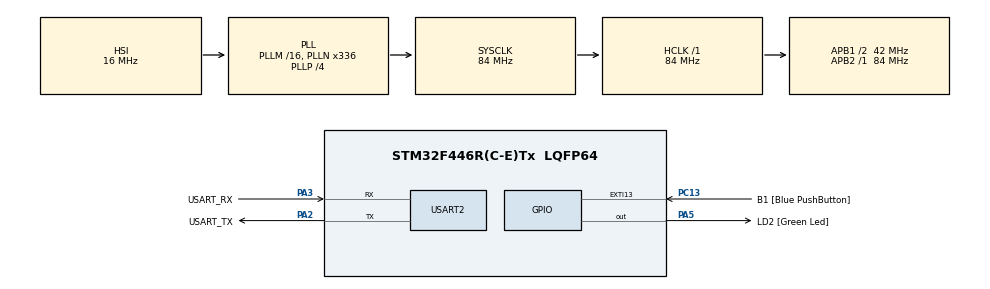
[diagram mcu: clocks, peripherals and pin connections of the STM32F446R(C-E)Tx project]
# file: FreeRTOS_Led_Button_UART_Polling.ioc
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FREERTOS.Tasks01=defaultTask,24,128,StartDefaultTask,Default,NULL,Dynamic,NULL,NULL;LedTask,9,128,LedFunction,Default,NULL,Dynamic,NULL,NULL;Buttonask,16,128,ButtonFunction,Default,NULL,Dynamic,NULL,NULL;UartTask,40,128,UartFunction,Default,NULL,Dynamic,NULL,NULL
FREERTOS.configUSE_NEWLIB_REENTRANT=1
Mcu.Family=STM32F4
Mcu.Name=STM32F446R(C-E)Tx
Mcu.Package=LQFP64
NVIC.PriorityGroup=NVIC_PRIORITYGROUP_4
NVIC.TIM5_IRQn=true\:15\:0\:false\:false\:true\:false\:false\:true
NVIC.TimeBase=TIM5_IRQn
NVIC.TimeBaseIP=TIM5
PA13.GPIO_Label=TMS
PA13.Mode=Serial_Wire
PA13.Signal=SYS_JTMS-SWDIO
PA14.GPIO_Label=TCK
PA14.Mode=Serial_Wire
PA14.Signal=SYS_JTCK-SWCLK
PA2.GPIO_Label=USART_TX
PA2.Mode=Asynchronous
PA2.Signal=USART2_TX
PA3.GPIO_Label=USART_RX
PA3.Mode=Asynchronous
PA3.Signal=USART2_RX
PA5.GPIO_Label=LD2 [Green Led]
PA5.Signal=GPIO_Output
PB3.GPIO_Label=SWO
PB3.Signal=SYS_JTDO-SWO
PC13.GPIO_Label=B1 [Blue PushButton]
PC13.GPIO_ModeDefaultEXTI=GPIO_MODE_IT_FALLING
PC13.Signal=GPXTI13
PC14-OSC32_IN.Mode=LSE-External-Oscillator
PC14-OSC32_IN.Signal=RCC_OSC32_IN
PC15-OSC32_OUT.Mode=LSE-External-Oscillator
PC15-OSC32_OUT.Signal=RCC_OSC32_OUT
PH0-OSC_IN.Signal=RCC_OSC_IN
PH1-OSC_OUT.Signal=RCC_OSC_OUT
ProjectManager.HeapSize=0x200
ProjectManager.StackSize=0x400
ProjectManager.TargetToolchain=STM32CubeIDE
RCC.AHBFreq_Value=84000000
RCC.APB1CLKDivider=RCC_HCLK_DIV2
RCC.APB1Freq_Value=42000000
RCC.APB1TimFreq_Value=84000000
RCC.APB2Freq_Value=84000000
RCC.APB2TimFreq_Value=84000000
RCC.CortexFreq_Value=84000000
RCC.FLatency-AdvancedSettings=FLASH_LATENCY_2
RCC.HCLKFreq_Value=84000000
RCC.HSE_VALUE=8000000
RCC.HSI_VALUE=16000000
RCC.PLLN=336
RCC.PLLP=RCC_PLLP_DIV4
RCC.SYSCLKFreq_VALUE=84000000
RCC.SYSCLKSource=RCC_SYSCLKSOURCE_PLLCLK
RCC.USBFreq_Value=168000000
RCC.VCOOutputFreq_Value=336000000
USART2.VirtualMode=VM_ASYNC
VP_FREERTOS_VS_CMSIS_V2.Mode=CMSIS_V2
VP_SYS_VS_tim5.Mode=TIM5
board=NUCLEO-F446RE

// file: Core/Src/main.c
/* USER CODE BEGIN Header */
/**
  ******************************************************************************
  * @file           : main.c
  * @brief          : Main program body
  ******************************************************************************
  * @attention
  *
  * Copyright (c) 2023 STMicroelectronics.
  * All rights reserved.
  *
  * This software is licensed under terms that can be found in the LICENSE file
  * in the root directory of this software component.
  * If no LICENSE file comes with this software, it is provided AS-IS.
  *
  ******************************************************************************
  */
/* USER CODE END Header */
#include "main.h"
#include "cmsis_os.h"

UART_HandleTypeDef huart2;

/* Definitions for defaultTask */
osThreadId_t defaultTaskHandle;
const osThreadAttr_t defaultTask_attributes = {
  .name = "defaultTask",
  .stack_size = 128 * 4,
  .priority = (osPriority_t) osPriorityNormal,
};
/* Definitions for LedTask */
osThreadId_t LedTaskHandle;
const osThreadAttr_t LedTask_attributes = {
  .name = "LedTask",
  .stack_size = 128 * 4,
  .priority = (osPriority_t) osPriorityLow1,
};
/* Definitions for Buttonask */
osThreadId_t ButtonaskHandle;
const osThreadAttr_t Buttonask_attributes = {
  .name = "Buttonask",
  .stack_size = 128 * 4,
  .priority = (osPriority_t) osPriorityBelowNormal,
};
/* Definitions for UartTask */
osThreadId_t UartTaskHandle;
const osThreadAttr_t UartTask_attributes = {
  .name = "UartTask",
  .stack_size = 128 * 4,
  .priority = (osPriority_t) osPriorityHigh,
};

void SystemClock_Config(void);
static void MX_GPIO_Init(void);
static void MX_USART2_UART_Init(void);
void StartDefaultTask(void *argument);
void LedFunction(void *argument);
void ButtonFunction(void *argument);
void UartFunction(void *argument);

int main(void)
{

  /* MCU Configuration--------------------------------------------------------*/

  /* Reset of all peripherals, Initializes the Flash interface and the Systick. */
  HAL_Init();

  /* Configure the system clock */
  SystemClock_Config();

  /* Initialize all configured peripherals */
  MX_GPIO_Init();
  MX_USART2_UART_Init();

  /* Init scheduler */
  osKernelInitialize();

  /* Create the thread(s) */
  /* creation of defaultTask */
  defaultTaskHandle = osThreadNew(StartDefaultTask, NULL, &defaultTask_attributes);

  /* creation of LedTask */
  LedTaskHandle = osThreadNew(LedFunction, NULL, &LedTask_attributes);

  /* creation of Buttonask */
  ButtonaskHandle = osThreadNew(ButtonFunction, NULL, &Buttonask_attributes);

  /* creation of UartTask */
  UartTaskHandle = osThreadNew(UartFunction, NULL, &UartTask_attributes);

  /* Start scheduler */
  osKernelStart();

  /* We should never get here as control is now taken by the scheduler */
  /* Infinite loop */
  while (1)
  {

  }
}

void SystemClock_Config(void)
{
  RCC_OscInitTypeDef RCC_OscInitStruct = {0};
  RCC_ClkInitTypeDef RCC_ClkInitStruct = {0};

  /** Configure the main internal regulator output voltage
  */
  __HAL_RCC_PWR_CLK_ENABLE();
  __HAL_PWR_VOLTAGESCALING_CONFIG(PWR_REGULATOR_VOLTAGE_SCALE3);
  /** Initializes the RCC Oscillators according to the specified parameters
  * in the RCC_OscInitTypeDef structure.
  */
  RCC_OscInitStruct.OscillatorType = RCC_OSCILLATORTYPE_HSI;
  RCC_OscInitStruct.HSIState = RCC_HSI_ON;
  RCC_OscInitStruct.HSICalibrationValue = RCC_HSICALIBRATION_DEFAULT;
  RCC_OscInitStruct.PLL.PLLState = RCC_PLL_ON;
  RCC_OscInitStruct.PLL.PLLSource = RCC_PLLSOURCE_HSI;
  RCC_OscInitStruct.PLL.PLLM = 16;
  RCC_OscInitStruct.PLL.PLLN = 336;
  RCC_OscInitStruct.PLL.PLLP = RCC_PLLP_DIV4;
  RCC_OscInitStruct.PLL.PLLQ = 2;
  RCC_OscInitStruct.PLL.PLLR = 2;
  if (HAL_RCC_OscConfig(&RCC_OscInitStruct) != HAL_OK)
  {
    Error_Handler();
  }
  /** Initializes the CPU, AHB and APB buses clocks
  */
  RCC_ClkInitStruct.ClockType = RCC_CLOCKTYPE_HCLK|RCC_CLOCKTYPE_SYSCLK
                              |RCC_CLOCKTYPE_PCLK1|RCC_CLOCKTYPE_PCLK2;
  RCC_ClkInitStruct.SYSCLKSource = RCC_SYSCLKSOURCE_PLLCLK;
  RCC_ClkInitStruct.AHBCLKDivider = RCC_SYSCLK_DIV1;
  RCC_ClkInitStruct.APB1CLKDivider = RCC_HCLK_DIV2;
  RCC_ClkInitStruct.APB2CLKDivider = RCC_HCLK_DIV1;

  if (HAL_RCC_ClockConfig(&RCC_ClkInitStruct, FLASH_LATENCY_2) != HAL_OK)
  {
    Error_Handler();
  }
}

static void MX_USART2_UART_Init(void)
{

  huart2.Instance = USART2;
  huart2.Init.BaudRate = 115200;
  huart2.Init.WordLength = UART_WORDLENGTH_8B;
  huart2.Init.StopBits = UART_STOPBITS_1;
  huart2.Init.Parity = UART_PARITY_NONE;
  huart2.Init.Mode = UART_MODE_TX_RX;
  huart2.Init.HwFlowCtl = UART_HWCONTROL_NONE;
  huart2.Init.OverSampling = UART_OVERSAMPLING_16;
  if (HAL_UART_Init(&huart2) != HAL_OK)
  {
    Error_Handler();
  }

}

static void MX_GPIO_Init(void)
{
  GPIO_InitTypeDef GPIO_InitStruct = {0};

  /* GPIO Ports Clock Enable */
  __HAL_RCC_GPIOC_CLK_ENABLE();
  __HAL_RCC_GPIOH_CLK_ENABLE();
  __HAL_RCC_GPIOA_CLK_ENABLE();
  __HAL_RCC_GPIOB_CLK_ENABLE();

  /*Configure GPIO pin Output Level */
  HAL_GPIO_WritePin(LD2_GPIO_Port, LD2_Pin, GPIO_PIN_RESET);

  /*Configure GPIO pin : B1_Pin */
  GPIO_InitStruct.Pin = B1_Pin;
  GPIO_InitStruct.Mode = GPIO_MODE_IT_FALLING;
  GPIO_InitStruct.Pull = GPIO_NOPULL;
  HAL_GPIO_Init(B1_GPIO_Port, &GPIO_InitStruct);

  /*Configure GPIO pin : LD2_Pin */
  GPIO_InitStruct.Pin = LD2_Pin;
  GPIO_InitStruct.Mode = GPIO_MODE_OUTPUT_PP;
  GPIO_InitStruct.Pull = GPIO_NOPULL;
  GPIO_InitStruct.Speed = GPIO_SPEED_FREQ_LOW;
  HAL_GPIO_Init(LD2_GPIO_Port, &GPIO_InitStruct);

}

void StartDefaultTask(void *argument)
{
  for(;;)
  {
    osDelay(1);
  }
}

void LedFunction(void *argument)
{
  /* USER CODE BEGIN LedFunction */
  /* Infinite loop */
  for(;;)
  {
	HAL_GPIO_TogglePin(GPIOA, GPIO_PIN_5);
    osDelay(100);
  }
  /* USER CODE END LedFunction */
}

void ButtonFunction(void *argument)
{
  /* USER CODE BEGIN ButtonFunction */
  GPIO_PinState buttonState = GPIO_PIN_RESET;
  /* Infinite loop */
  for(;;)
  {
	buttonState = HAL_GPIO_ReadPin(GPIOC, GPIO_PIN_13);
	if(buttonState != GPIO_PIN_SET)
	{
		HAL_GPIO_WritePin(GPIOA, GPIO_PIN_5, GPIO_PIN_SET);
		HAL_Delay(500);
		HAL_GPIO_WritePin(GPIOA, GPIO_PIN_5, GPIO_PIN_RESET);
		HAL_Delay(50);
	}

    osDelay(100);
  }
  /* USER CODE END ButtonFunction */
}

void UartFunction(void *argument)
{
  /* USER CODE BEGIN UartFunction */
  uint8_t revChar = NULL;
  /* Infinite loop */
  for(;;)
  {
	HAL_UART_Receive(&huart2, &revChar, 1, 10);
	if( revChar == '\r')
	{
		HAL_UART_Transmit(&huart2, "\r\n", 2, 10);
	}
	else if ( revChar != NULL )
	{
		HAL_UART_Transmit(&huart2, &revChar, 1, 10);
	}
	else
	{
		//Do nothing
	}
	revChar = NULL;
	osDelay(100);
  }
  /* USER CODE END UartFunction */
}

void HAL_TIM_PeriodElapsedCallback(TIM_HandleTypeDef *htim)
{
  if (htim->Instance == TIM5) {
    HAL_IncTick();
  }
}

void Error_Handler(void)
{
  __disable_irq();
  while (1)
  {
  }
}
